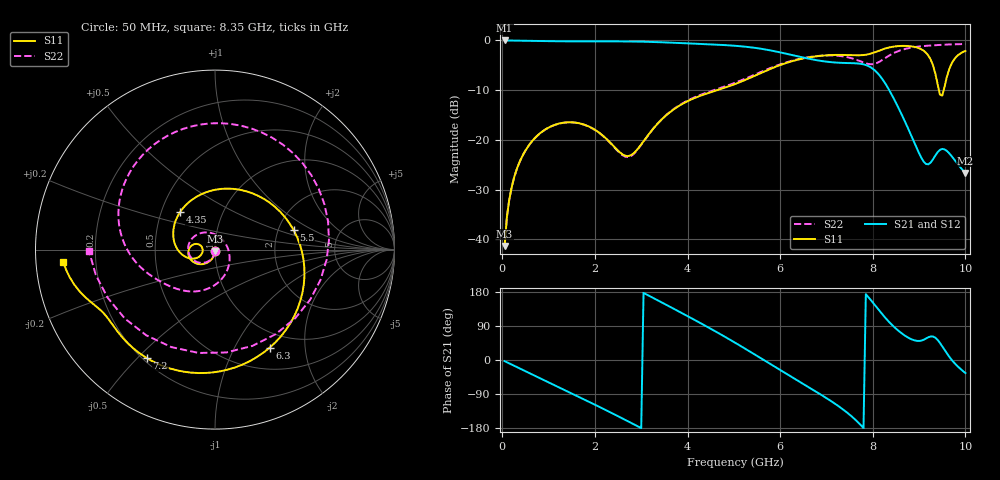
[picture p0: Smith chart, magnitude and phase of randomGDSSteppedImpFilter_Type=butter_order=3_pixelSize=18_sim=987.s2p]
! freq	dB(S11)	phase(S11)	dB(S12)	phase(S12)
!  dB(S21)	phase(S21)	dB(S22)	phase(S22)
!S-par simulation data
#  GHz  S  DB  R 50
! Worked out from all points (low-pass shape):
!   200 points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, 50 MHz to 10 GHz, reference 50 ohm
!   highest |S21| = -0.02 dB at 50 MHz (marker M1); lowest = -26.7 dB at 10 GHz (marker M2)
!   |S21| within 3 dB of the highest: start of sweep to 6.29 GHz
!   lowest |S11| = -41.4 dB at 50 MHz (marker M3), VSWR 1.02, Z = 50.1 - j0.852 ohm
!   |S11| at or under -10 dB: start of sweep to 4.645 GHz; 9.428 GHz to 9.531 GHz (102.4 MHz wide, 1.08 % of centre)
!   |S22| runs from -41.4 to -0.7 dB; largest |S21 - S12| = 0
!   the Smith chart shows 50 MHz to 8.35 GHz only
!   S11 on the Smith chart (normalised r, x): 50 MHz: 1.00, -0.02; 4.35 GHz: 0.62, +0.28; 5.5 GHz: 2.43, +0.67; 6.3 GHz: 0.78, -1.40; 7.2 GHz: 0.22, -0.53; 8.35 GHz: 0.08, -0.04
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0.05  -41.36 -83.8  -0.02 -3.0  -0.02 -3.0  -41.37 -84.2
0.2  -29.61 -99.3  -0.03 -11.9  -0.03 -11.9  -29.63 -100.6
0.55  -21.41 -120.7  -0.08 -32.6  -0.08 -32.6  -21.43 -124.6
1.75  -16.89 177.2  -0.21 -103.0  -0.21 -103.0  -16.92 155.3
2.7  -23.27 -178.2  -0.22 -160.8  -0.22 -160.8  -23.45 34.8
3.4  -16.29 -161.9  -0.37 154.7  -0.37 154.7  -16.25 -70.5
4.35  -10.90 133.2  -0.74 92.6  -0.74 92.6  -10.71 -128.9
5.05  -8.70 62.7  -1.10 44.0  -1.10 44.0  -8.44 -156.4
5.5  -6.91 14.0  -1.56 10.9  -1.56 10.9  -6.69 -174.4
6.3  -4.07 -61.0  -3.04 -48.7  -3.04 -48.7  -3.98 141.0
6.7  -3.30 -90.8  -3.84 -78.0  -3.84 -78.0  -3.26 112.7
7.2  -2.93 -122.0  -4.46 -116.7  -4.46 -116.7  -3.06 68.2
7.75  -2.98 -147.6  -4.73 -172.9  -4.73 -172.9  -4.27 -16.0
8.05  -2.38 -158.5  -6.08 144.2  -6.08 144.2  -4.69 -99.0
8.35  -1.43 -175.3  -9.92 100.7  -9.92 100.7  -3.07 -179.3
8.7  -1.11 159.0  -16.42 63.9  -16.42 63.9  -1.72 122.9
9.1  -2.08 116.2  -24.39 53.4  -24.39 53.4  -1.14 82.5
9.25  -3.85 86.1  -24.57 62.2  -24.57 62.2  -1.03 70.8
9.4  -8.81 26.9  -22.48 53.1  -22.48 53.1  -0.94 60.3
9.6  -7.33 -118.6  -22.22 17.3  -22.22 17.3  -0.84 47.6
9.75  -3.92 -160.3  -23.84 -6.1  -23.84 -6.1  -0.79 38.7
10  -2.14 166.0  -26.67 -34.4  -26.67 -34.4  -0.74 25.1
